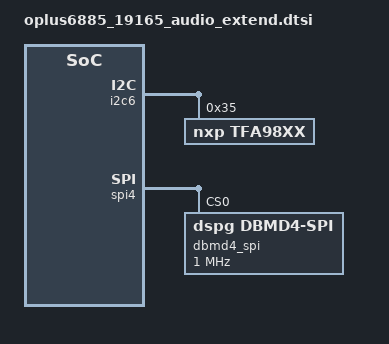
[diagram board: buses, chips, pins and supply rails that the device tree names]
//#ifdef OPLUS_ARCH_EXTENDS
&audio_extend {
	//for nxp speaker
	oplus,speaker-vendor = "nxp";
	oplus,speaker-i2s-id = <3>;
	oplus,speaker-i2s-id-in = <0>;
	oplus,speaker-codec-name = "tfa98xx.6-0035";
	oplus,speaker-codec-dai-name = "tfa98xx-aif-6-35";
};

&i2c6 {
	tfa98xx: tfa98xx@35 {
		compatible = "nxp,tfa98xx";
		reg = <0x35>;
		//reset-gpio = <&pio 111 0>;
		status = "okay";
	};
};
/* Audio start */
&spi4 {
	#address-cells = <1>;
	#size-cells = <0>;

	dbmd4_spi:dbmd4_interface@0 {
		compatible = "dspg,dbmd4-spi";
		reg = <0>;
		spi-max-frequency = <1000000>;
		read-chunk-size  = <0x2000>;    /* 16*16*16*16*2 bytes   */
		write-chunk-size = <0x40000>;   /* 1000 bytes */
		dma_min_buffer_size = <0>;
		status = "okay";
	};
};

&dbmdx {

		reset-gpio = <&pio 19 0x0>; /* GPX1.3 */
		sv-gpio = <&pio 22 0x0>; /* GPX1.5 */
		wakeup-gpio = <&pio 27 0x0>; /* GPA0.1 */
		ldo-gpio = <&pio 127 0x0>; /* 1.1v */

		auto_buffering = <1>;
		multi-interface-support = <1>;
		cd-interfaces = <&dbmd4_spi>;
		va-interfaces = <0 0 0 0>;
		feature-va; /* enable VA */
		va-firmware-name = "dbmd4_va_fw.bin";
		va-config = <0x800C2400
			0x80290020
			0x802210A0
			0x80330056
			0x80091400
			0x80158E8E
			0x8018000A
			0x801b0020
			0x80230000
			0x801a0011
			0x80108000
			0x8aab0040
			0x805004B0
			0x805104B0
			0x80410001
			0x8060ef81
			0x8061f98f
			0x806221c0
			0x8063fb2f
			0x806421c0
			0x8065fb2f
			0x80660006
			0x80000000
			0x80000000
			0x80000000>;
		va-speeds = <0x0000 460800  0 960000
			0x0000 2000000 0 4800000
			0x0000 3000000 0 4800000>;
		va-mic-config = <0x5012 0x1044 0x0007>;
		va-mic-mode = <4>;

	//		digital_mic_digital_gain = <0x14>;
		analog_mic_analog_gain = <0x0E>;
	//		analog_mic_digital_gain = <0x14>;

		master-clk-rate = <32768>;
		/* constant-clk-rate = <32768>; */
		firmware_id = <0xdbd4>;
		use_gpio_for_wakeup = <1>; /* Use wakeup gpio */
		wakeup_set_value = <0>;  /* Value to write to wakeup gpio */
		auto_detection = <1>;
		detection_buffer_channels = <0>;
		min_samples_chunk_size = <128>;
		pcm_streaming_mode = <1>;
		boot_options = <0x200>; /* Verify chip id */
		amodel_options = <0x24>;
		send_uevent_on_detection = <1>;
		send_uevent_after_buffering = <0>;
		detection_after_buffering = <0>;
		va_backlog_length = <0x780>;
		va_advanced_options = <0x1D>; /* Split Passphrase/Buf, Send det and buf events, Send event after passphrase */
		va_passphrase_margins = <0x00320640>;
};
//#endif /* OPLUS_BUG_COMPATIBILITY */
//#endif /*OPLUS_ARCH_EXTENDS*/
